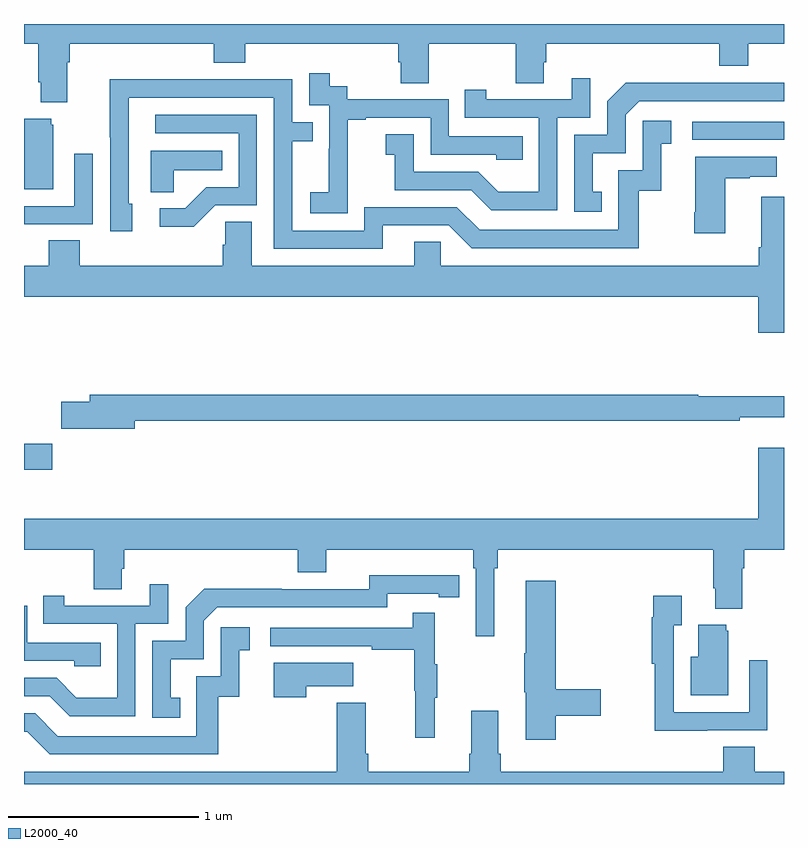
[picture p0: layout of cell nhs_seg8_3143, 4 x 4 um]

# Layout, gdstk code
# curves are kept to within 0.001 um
import gdstk
lib = gdstk.Library(unit=1e-6, precision=1e-09)
def R(c, l, rs):  # rectangles x0, y0, x1, y1
    for r in rs: c.add(gdstk.rectangle(r[:2], r[2:], *l))
def P(c, l, *ps):  # polygons
    for p in ps: c.add(gdstk.Polygon(p, *l))
L2000_40 = (2000, 40)

nhs_seg8_3143 = lib.new_cell('nhs_seg8_3143')
R(nhs_seg8_3143, L2000_40, [(305,1151.555,305.149,1151.69), (308.517,1153.29,309,1153.386)])
P(nhs_seg8_3143, L2000_40, [(305.227,1153.7),(305.24,1153.7),(305.24,1153.796),(305.999,1153.796),(305.999,1153.697),(306.164,1153.697),(306.164,1153.796),(306.971,1153.796),(306.971,1153.698),(306.983,1153.698),(306.983,1153.588),(307.131,1153.588),(307.131,1153.796),(307.588,1153.796),(307.588,1153.588),(307.735,1153.588),(307.735,1153.698),(307.748,1153.698),(307.748,1153.796),(308.66,1153.796),(308.66,1153.679),(308.812,1153.679),(308.812,1153.796),(309,1153.796),(309,1153.9),(305,1153.9),(305,1153.796),(305.075,1153.796),(305.075,1153.594),(305.087,1153.594),(305.087,1153.487),(305.227,1153.487)],
  [(306.705,1153.111),(306.704,1153.111),(306.704,1153.395),(306.799,1153.395),(306.799,1153.407),(307.14,1153.407),(307.14,1153.212),(307.485,1153.212),(307.485,1153.185),(307.625,1153.185),(307.625,1153.308),(307.236,1153.308),(307.236,1153.503),(306.702,1153.503),(306.702,1153.572),(306.61,1153.572),(306.61,1153.642),(306.501,1153.642),(306.501,1153.473),(306.606,1153.473),(306.606,1153.244),(306.605,1153.244),(306.605,1153.015),(306.507,1153.015),(306.507,1152.905),(306.705,1152.905)],
  [(307.806,1153.407),(307.98,1153.407),(307.98,1153.615),(307.883,1153.615),(307.883,1153.503),(307.432,1153.503),(307.432,1153.555),(307.321,1153.555),(307.321,1153.407),(307.71,1153.407),(307.71,1153.018),(307.496,1153.018),(307.392,1153.122),(307.05,1153.122),(307.05,1153.321),(306.903,1153.321),(306.903,1153.211),(306.952,1153.211),(306.952,1153.026),(307.355,1153.026),(307.46,1152.921),(307.806,1152.921)],
  [(306.889,1152.84),(307.236,1152.84),(307.356,1152.72),(308.236,1152.72),(308.236,1153.023),(308.354,1153.023),(308.354,1153.269),(308.407,1153.269),(308.407,1153.39),(308.256,1153.39),(308.256,1153.131),(308.127,1153.131),(308.127,1152.816),(307.398,1152.816),(307.278,1152.936),(306.792,1152.936),(306.792,1152.813),(306.411,1152.813),(306.411,1153.282),(306.521,1153.282),(306.521,1153.383),(306.411,1153.383),(306.411,1153.608),(305.915,1153.608),(305.915,1153.61),(305.452,1153.61),(305.452,1153.303),(305.454,1153.303),(305.454,1152.81),(305.569,1152.81),(305.569,1152.954),(305.55,1152.954),(305.55,1153.512),(306.315,1153.512),(306.315,1152.717),(306.889,1152.717)],
  [(308.042,1153.017),(307.993,1153.017),(307.993,1153.221),(308.166,1153.221),(308.166,1153.422),(308.238,1153.494),(309,1153.494),(309,1153.59),(308.576,1153.59),(308.576,1153.592),(308.168,1153.592),(308.07,1153.494),(308.07,1153.317),(307.896,1153.317),(307.896,1152.912),(308.042,1152.912)],
  [(306.006,1152.945),(306.225,1152.945),(306.225,1153.422),(305.691,1153.422),(305.691,1153.326),(306.129,1153.326),(306.129,1153.041),(305.96,1153.041),(305.849,1152.93),(305.715,1152.93),(305.715,1152.833),(305.893,1152.833)],
  [(305.155,1153.371),(305.144,1153.371),(305.144,1153.402),(305,1153.402),(305,1153.031),(305.155,1153.031)],
  [(305.787,1153.13),(306.044,1153.13),(306.044,1153.234),(305.666,1153.234),(305.666,1153.015),(305.787,1153.015)],
  [(305.045,1152.846),(305.361,1152.846),(305.361,1153.216),(305.265,1153.216),(305.265,1152.942),(305,1152.942),(305,1152.845),(305.045,1152.845)],
  [(308.692,1153.087),(308.819,1153.087),(308.819,1153.097),(308.962,1153.097),(308.962,1153.201),(308.534,1153.201),(308.534,1152.91),(308.527,1152.91),(308.527,1152.798),(308.692,1152.798)],
  [(309,1152.991),(308.879,1152.991),(308.879,1152.724),(308.867,1152.724),(308.867,1152.628),(307.194,1152.628),(307.194,1152.755),(307.055,1152.755),(307.055,1152.628),(306.199,1152.628),(306.199,1152.86),(306.06,1152.86),(306.06,1152.737),(306.047,1152.737),(306.047,1152.628),(305.294,1152.628),(305.294,1152.761),(305.129,1152.761),(305.129,1152.628),(305,1152.628),(305,1152.464),(308.864,1152.464),(308.864,1152.276),(309,1152.276)],
  [(305.584,1151.812),(308.768,1151.812),(308.768,1151.831),(309,1151.831),(309,1151.941),(308.549,1151.941),(308.549,1151.948),(305.345,1151.948),(305.345,1151.912),(305.196,1151.912),(305.196,1151.77),(305.584,1151.77)],
  [(307.474,1151.036),(307.493,1151.036),(307.493,1151.132),(308.627,1151.132),(308.627,1150.93),(308.639,1150.93),(308.639,1150.823),(308.779,1150.823),(308.779,1151.036),(308.792,1151.036),(308.792,1151.132),(309,1151.132),(309,1151.671),(308.864,1151.671),(308.864,1151.296),(305,1151.296),(305,1151.132),(305.368,1151.132),(305.368,1150.924),(305.515,1150.924),(305.515,1151.034),(305.528,1151.034),(305.528,1151.132),(306.44,1151.132),(306.44,1151.015),(306.592,1151.015),(306.592,1151.132),(307.364,1151.132),(307.364,1151.036),(307.377,1151.036),(307.377,1150.677),(307.474,1150.677)],
  [(305.822,1150.353),(305.773,1150.353),(305.773,1150.557),(305.946,1150.557),(305.946,1150.758),(306.018,1150.83),(306.912,1150.83),(306.912,1150.902),(307.184,1150.902),(307.184,1150.882),(307.292,1150.882),(307.292,1150.998),(306.816,1150.999),(306.816,1150.926),(306.356,1150.926),(306.356,1150.928),(305.948,1150.928),(305.85,1150.83),(305.85,1150.653),(305.676,1150.653),(305.676,1150.248),(305.822,1150.248)],
  [(307.799,1150.258),(308.035,1150.258),(308.035,1150.4),(307.799,1150.4),(307.799,1150.969),(307.64,1150.969),(307.64,1150.589),(307.633,1150.589),(307.633,1150.383),(307.64,1150.383),(307.64,1150.134),(307.799,1150.134)],
  [(305.586,1150.743),(305.76,1150.743),(305.76,1150.951),(305.663,1150.951),(305.663,1150.839),(305.212,1150.839),(305.212,1150.891),(305.101,1150.891),(305.101,1150.743),(305.49,1150.743),(305.49,1150.354),(305.276,1150.354),(305.172,1150.458),(305,1150.458),(305,1150.362),(305.135,1150.362),(305.24,1150.257),(305.586,1150.257)],
  [(308.597,1150.182),(308.913,1150.182),(308.913,1150.552),(308.817,1150.552),(308.817,1150.278),(308.421,1150.278),(308.421,1150.735),(308.461,1150.735),(308.461,1150.891),(308.313,1150.891),(308.313,1150.778),(308.305,1150.778),(308.305,1150.532),(308.32,1150.532),(308.32,1150.181),(308.597,1150.181)],
  [(305.405,1150.644),(305.016,1150.644),(305.016,1150.839),(305,1150.839),(305,1150.548),(305.265,1150.548),(305.265,1150.521),(305.405,1150.521)],
  [(307.163,1150.355),(307.174,1150.355),(307.174,1150.529),(307.163,1150.529),(307.163,1150.801),(307.045,1150.801),(307.045,1150.722),(306.297,1150.722),(306.297,1150.626),(306.829,1150.626),(306.829,1150.606),(307.053,1150.606),(307.053,1150.392),(307.06,1150.392),(307.06,1150.143),(307.163,1150.143)],
  [(308.707,1150.707),(308.696,1150.707),(308.696,1150.738),(308.549,1150.738),(308.549,1150.57),(308.51,1150.57),(308.51,1150.367),(308.707,1150.367)],
  [(306.023,1150.359),(306.134,1150.359),(306.134,1150.605),(306.187,1150.605),(306.187,1150.726),(306.036,1150.726),(306.036,1150.467),(305.907,1150.467),(305.907,1150.152),(305.178,1150.152),(305.058,1150.272),(305,1150.272),(305,1150.176),(305.016,1150.176),(305.136,1150.056),(306.023,1150.056)],
  [(306.485,1150.415),(306.733,1150.415),(306.733,1150.537),(306.314,1150.537),(306.314,1150.356),(306.485,1150.356)],
  [(309,1149.964),(308.846,1149.964),(308.846,1150.097),(308.681,1150.097),(308.681,1149.964),(307.508,1149.964),(307.508,1150.06),(307.495,1150.06),(307.495,1150.285),(307.355,1150.285),(307.355,1150.06),(307.343,1150.06),(307.343,1149.964),(306.812,1149.964),(306.812,1150.06),(306.799,1150.06),(306.799,1150.327),(306.647,1150.327),(306.647,1149.964),(305,1149.964),(305,1149.9),(309,1149.9)])

lib.write_gds('nhs_seg8_3143.gds')
